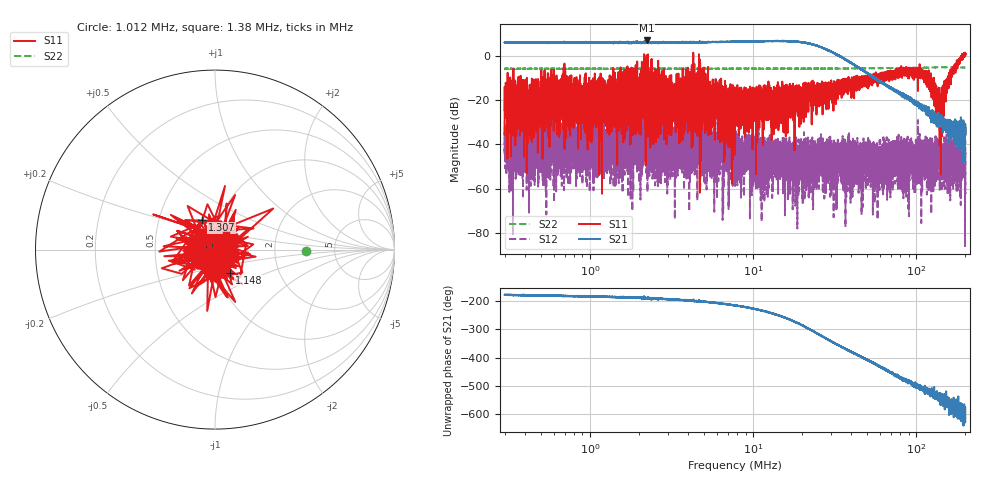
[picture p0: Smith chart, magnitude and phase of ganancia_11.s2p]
# Hz S DB R 50
! CMT, M5065, 19127446, 24.2.4/2
! Date: 11/1/2024 4:20:38 PM
! Data: Format (Calibration Info)
! Freq	S11:dB/Ang(F2)	S21:dB/Ang(F2)	S12:dB/Ang(F2)	S22:dB/Ang(F2)
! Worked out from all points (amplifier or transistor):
!   9000 points, 300 kHz to 200 MHz, reference 50 ohm
!   highest |S21| = 6.9 dB at 2.225 MHz (marker M1)
!   |S21| within 3 dB of that: start of sweep to 25.89 MHz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
!   unconditionally stable (mu >= 1): start of sweep to 2.145 MHz; 2.271 MHz to 4.295 MHz; 4.665 MHz to 189.8 MHz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
!   at 886.8 kHz: K = 13.53, MAG = 7.3 dB, |S12| = -37.2 dB
!   at 7.749 MHz: K = 22.29, MAG = 7.7 dB, |S12| = -42.1 dB
!   at 200 MHz: K = -297.42, MSG = 5.6 dB, |S12| = -43.7 dB
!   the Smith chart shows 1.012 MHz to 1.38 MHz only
!   S11 on the Smith chart (normalised r, x): 1.012 MHz: 1.21, +0.07; 1.148 MHz: 1.13, -0.30; 1.307 MHz: 0.82, +0.28; 1.38 MHz: 1.12, +0.18
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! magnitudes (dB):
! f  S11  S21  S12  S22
! 300 kHz  -35.8  6.0  -42.2  -5.9
! 310.1 kHz  -23.1  6.1  -50.6  -5.9
! 329.1 kHz  -19.0  6.0  -47.6  -5.9
! 886.8 kHz  -19.1  5.9  -37.2  -5.9
! 1.012 MHz  -19.9  5.9  -41.5  -5.9
! 1.148 MHz  -16.4  5.9  -30.7  -5.9
! 1.307 MHz  -14.9  6.0  -40.6  -5.9
! 1.38 MHz  -19.7  5.9  -35.9  -5.9
! 2.225 MHz  0.3  6.9  -41.1  -5.9
! 2.621 MHz  -26.7  6.0  -37.6  -5.9
! 3.339 MHz  -17.8  6.0  -44.8  -5.9
! 3.571 MHz  -22.8  6.1  -43.5  -5.9
! 4.041 MHz  -16.8  6.0  -45.1  -5.9
! 4.761 MHz  -14.0  6.1  -37.2  -5.9
! 7.749 MHz  -19.6  6.4  -42.1  -5.8
! 22.91 MHz  -17.7  5.2  -40.2  -5.9
! 67.71 MHz  -7.5  -13.8  -46.0  -5.6
! 106.8 MHz  -6.7  -22.6  -57.0  -5.5
! 124.4 MHz  -13.4  -27.6  -57.0  -5.3
! 140.1 MHz  -34.2  -28.0  -54.6  -5.2
! 163.7 MHz  -7.5  -35.6  -48.8  -5.2
! 200 MHz  0.5  -32.6  -43.7  -5.3
